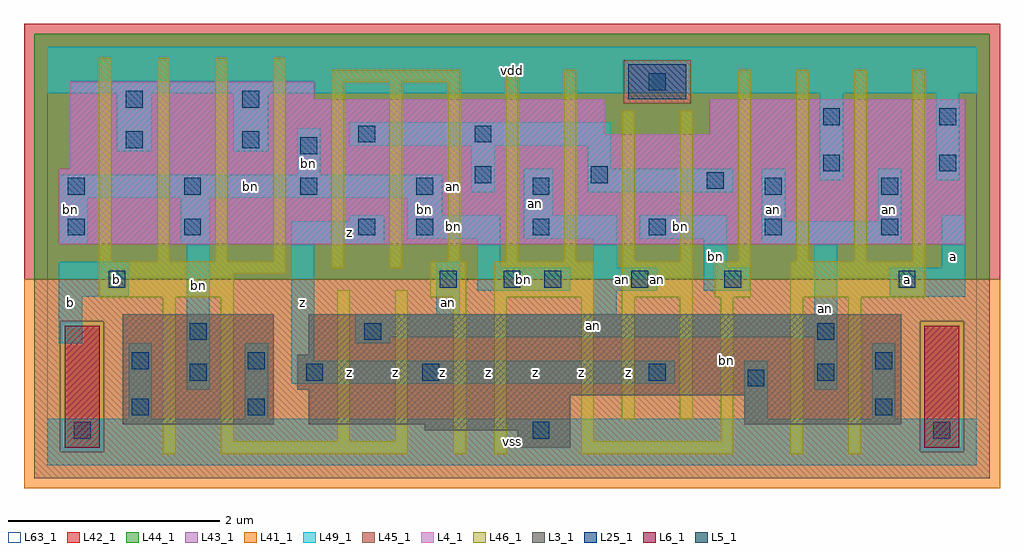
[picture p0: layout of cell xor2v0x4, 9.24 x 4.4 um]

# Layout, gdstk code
import gdstk
lib = gdstk.Library(unit=1e-6, precision=1e-09)
def R(c, l, rs):  # rectangles x0, y0, x1, y1
    for r in rs: c.add(gdstk.rectangle(r[:2], r[2:], *l))
def A(c, l, x, y, w, h, nx, ny, dx, dy):  # array of equal rectangles
    R(c, l, [(x+i*dx, y+j*dy, x+i*dx+w, y+j*dy+h) for i in range(nx) for j in range(ny)])
L3_1 = (3, 1)
L4_1 = (4, 1)
L5_1 = (5, 1)
L6_1 = (6, 1)
L25_1 = (25, 1)
L41_1 = (41, 1)
L42_1 = (42, 1)
L43_1 = (43, 1)
L44_1 = (44, 1)
L45_1 = (45, 1)
L46_1 = (46, 1)
L49_1 = (49, 1)
L63_1 = (63, 1)

xor2v0x4 = lib.new_cell('xor2v0x4')
R(xor2v0x4, L3_1, [(4.455,0.165,4.95,0.33), (3.575,0.33,4.95,0.385), (0.715,0.385,2.145,1.43), (2.475,0.385,4.95,0.66), (6.6,0.385,8.085,0.66), (2.475,0.66,8.085,0.715), (2.365,0.715,8.085,1.045), (2.475,1.045,8.085,1.43)])
R(xor2v0x4, L4_1, [(0.11,2.09,8.69,2.805), (0.22,2.805,8.69,3.135), (0.22,3.135,5.28,3.465), (6.27,3.135,8.69,3.465), (0.22,3.465,2.53,3.63)])
R(xor2v0x4, L5_1, [(5.5,3.465,6.05,3.795)])
R(xor2v0x4, L6_1, [(0.165,0.165,0.495,1.32), (8.305,0.165,8.635,1.32)])
A(xor2v0x4, L25_1, 1.35, 0.8, 0.16, 0.16, 3, 1, 1.1, 0)
A(xor2v0x4, L25_1, 3.495, 2.175, 0.16, 0.16, 5, 1, 1.1, 0)
A(xor2v0x4, L25_1, 0.195, 2.56, 0.16, 0.16, 5, 1, 1.1, 0)
R(xor2v0x4, L25_1, [(0.25,0.25,0.41,0.41), (4.595,0.25,4.755,0.41), (8.39,0.25,8.55,0.41), (0.8,0.47,0.96,0.63), (1.9,0.47,2.06,0.63), (7.84,0.47,8,0.63), (6.63,0.745,6.79,0.905), (5.695,0.8,5.855,0.96), (7.29,0.8,7.45,0.96), (0.8,0.91,0.96,1.07), (1.9,0.91,2.06,1.07), (7.84,0.91,8,1.07), (1.35,1.185,1.51,1.345), (3,1.185,3.16,1.345), (7.29,1.185,7.45,1.345), (0.58,1.68,0.74,1.84), (3.715,1.68,3.875,1.84), (4.32,1.68,4.48,1.84), (4.705,1.68,4.865,1.84), (5.53,1.68,5.69,1.84), (6.41,1.68,6.57,1.84), (8.06,1.68,8.22,1.84), (0.195,2.175,0.355,2.335), (1.295,2.175,1.455,2.335), (2.945,2.175,3.105,2.335), (6.795,2.56,6.955,2.72), (7.895,2.56,8.055,2.72), (6.245,2.615,6.405,2.775), (4.045,2.67,4.205,2.83), (5.145,2.67,5.305,2.83), (7.345,2.78,7.505,2.94), (8.445,2.78,8.605,2.94), (2.395,2.945,2.555,3.105), (0.745,3,0.905,3.16), (1.845,3,2.005,3.16), (2.945,3.055,3.105,3.215), (4.045,3.055,4.205,3.215), (7.345,3.22,7.505,3.38), (8.445,3.22,8.605,3.38), (0.745,3.385,0.905,3.545), (1.845,3.385,2.005,3.545), (5.695,3.55,5.855,3.71)])
R(xor2v0x4, L41_1, [(-0.22,-0.22,9.02,1.76)])
R(xor2v0x4, L42_1, [(-0.22,1.76,9.02,4.18)])
R(xor2v0x4, L43_1, [(0.165,0.165,0.495,1.32), (4.455,0.165,4.95,0.33), (8.305,0.165,8.635,1.32), (3.575,0.33,4.95,0.385), (0.715,0.385,2.145,1.43), (2.475,0.385,4.95,0.66), (6.6,0.385,8.085,0.66), (2.475,0.66,8.085,0.715), (2.365,0.715,8.085,1.045), (2.475,1.045,8.085,1.43), (0.11,2.09,8.69,2.805), (0.22,2.805,8.69,3.135), (0.22,3.135,5.28,3.465), (6.27,3.135,8.69,3.465), (0.22,3.465,2.53,3.63), (5.5,3.465,6.05,3.795)])
R(xor2v0x4, L44_1, [(0.125,0.125,0.535,1.36), (8.265,0.125,8.675,1.36), (-0.125,1.76,8.925,3.425), (-0.125,3.425,5.46,3.835), (6.09,3.425,8.925,3.835), (-0.125,3.835,8.925,4.085)])
R(xor2v0x4, L45_1, [(-0.125,-0.125,8.925,0.125), (-0.125,0.125,0.125,1.36), (0.535,0.125,8.265,1.36), (8.675,0.125,8.925,1.36), (-0.125,1.36,8.925,1.76), (5.46,3.425,6.09,3.835)])
A(xor2v0x4, L46_1, 0.49, 1.93, 0.12, 1.925, 4, 1, 0.55, 0)
A(xor2v0x4, L46_1, 6.54, 1.93, 0.12, 1.815, 4, 1, 0.55, 0)
R(xor2v0x4, L46_1, [(1.095,0.105,1.215,1.59), (1.645,0.105,3.415,0.225), (3.845,0.105,3.965,1.59), (4.23,0.105,4.35,1.59), (5.055,0.105,6.495,0.225), (7.035,0.105,7.155,1.59), (7.585,0.105,7.705,1.59), (1.645,0.225,1.765,1.59), (2.745,0.225,2.865,1.655), (3.295,0.225,3.415,1.655), (5.055,0.225,5.175,1.59), (6.375,0.225,6.495,1.59), (5.44,0.435,5.56,1.59), (5.99,0.435,6.11,1.59), (0.49,1.59,1.765,1.81), (3.625,1.59,3.965,1.93), (4.23,1.59,5.175,1.93), (5.44,1.59,6.11,1.93), (6.32,1.59,6.66,1.93), (7.035,1.59,8.31,1.93), (0.49,1.81,2.26,1.93), (2.69,1.865,2.81,3.625), (3.24,1.865,3.36,3.625), (3.79,1.93,3.91,3.625), (4.34,1.93,4.46,3.745), (4.89,1.93,5.01,3.745), (5.44,1.93,5.56,3.36), (5.99,1.93,6.11,3.36), (2.69,3.625,3.91,3.745)])
R(xor2v0x4, L49_1, [(0,0,8.8,0.44), (0.77,0.44,0.99,1.155), (1.87,0.44,2.09,1.155), (6.6,0.44,6.82,0.99), (7.81,0.44,8.03,1.155), (1.32,0.715,1.54,2.09), (7.26,0.715,7.48,1.21), (2.31,0.77,5.94,0.99), (2.31,0.99,2.53,2.09), (0.11,1.155,0.33,1.595), (2.915,1.155,3.245,1.21), (2.915,1.21,7.48,1.43), (3.685,1.43,3.905,1.925), (5.17,1.43,5.39,1.65), (7.26,1.43,7.48,2.09), (0.11,1.595,0.77,1.925), (7.975,1.595,8.69,1.87), (4.07,1.65,4.95,1.87), (5.17,1.65,5.775,1.87), (6.215,1.65,6.655,1.87), (4.07,1.87,4.29,2.145), (5.17,1.87,5.39,2.145), (6.215,1.87,6.435,2.145), (8.47,1.87,8.69,2.365), (0.11,2.09,0.385,2.53), (1.265,2.09,1.54,2.53), (2.31,2.09,3.19,2.31), (6.765,2.09,8.085,2.31), (3.41,2.145,4.29,2.365), (4.51,2.145,5.39,2.365), (5.61,2.145,6.435,2.365), (2.86,2.31,3.19,2.365), (6.765,2.31,6.985,2.805), (7.865,2.31,8.085,2.805), (3.41,2.365,3.74,2.53), (4.51,2.365,4.785,2.805), (0.11,2.53,3.74,2.75), (4.015,2.585,4.235,3.025), (5.115,2.585,6.49,2.805), (7.315,2.695,7.535,3.52), (8.415,2.695,8.635,3.52), (2.365,2.75,2.585,3.19), (5.115,2.805,5.335,3.025), (0.66,2.97,0.99,3.52), (1.76,2.97,2.09,3.52), (2.86,3.025,5.335,3.245), (0,3.52,8.8,3.96)])
R(xor2v0x4, L63_1, [(0,0,8.8,3.96)])
xor2v0x4.add(gdstk.Label('an', (3.85,2.64), layer=46, texttype=1))
xor2v0x4.add(gdstk.Label('an', (5.775,1.76), layer=46, texttype=1))
xor2v0x4.add(gdstk.Label('bn', (6.435,0.99), layer=46, texttype=1))
xor2v0x4.add(gdstk.Label('b', (0.66,1.76), layer=49, texttype=1))
xor2v0x4.add(gdstk.Label('b', (0.22,1.54), layer=49, texttype=1))
xor2v0x4.add(gdstk.Label('bn', (0.22,2.42), layer=49, texttype=1))
xor2v0x4.add(gdstk.Label('bn', (1.43,1.705), layer=49, texttype=1))
xor2v0x4.add(gdstk.Label('z', (2.86,0.88), layer=49, texttype=1))
xor2v0x4.add(gdstk.Label('z', (3.3,0.88), layer=49, texttype=1))
xor2v0x4.add(gdstk.Label('z', (2.42,1.54), layer=49, texttype=1))
xor2v0x4.add(gdstk.Label('z', (2.86,2.2), layer=49, texttype=1))
xor2v0x4.add(gdstk.Label('bn', (2.475,2.86), layer=49, texttype=1))
xor2v0x4.add(gdstk.Label('vss', (4.4,0.22), layer=49, texttype=1))
xor2v0x4.add(gdstk.Label('z', (3.74,0.88), layer=49, texttype=1))
xor2v0x4.add(gdstk.Label('z', (4.18,0.88), layer=49, texttype=1))
xor2v0x4.add(gdstk.Label('z', (5.06,0.88), layer=49, texttype=1))
xor2v0x4.add(gdstk.Label('z', (4.62,0.88), layer=49, texttype=1))
xor2v0x4.add(gdstk.Label('an', (3.795,1.54), layer=49, texttype=1))
xor2v0x4.add(gdstk.Label('bn', (4.51,1.76), layer=49, texttype=1))
xor2v0x4.add(gdstk.Label('an', (4.62,2.475), layer=49, texttype=1))
xor2v0x4.add(gdstk.Label('bn', (3.85,2.255), layer=49, texttype=1))
xor2v0x4.add(gdstk.Label('bn', (3.575,2.42), layer=49, texttype=1))
xor2v0x4.add(gdstk.Label('bn', (1.925,2.64), layer=49, texttype=1))
xor2v0x4.add(gdstk.Label('vdd', (4.4,3.74), layer=49, texttype=1))
xor2v0x4.add(gdstk.Label('z', (5.5,0.88), layer=49, texttype=1))
xor2v0x4.add(gdstk.Label('an', (5.445,1.76), layer=49, texttype=1))
xor2v0x4.add(gdstk.Label('an', (6.875,2.42), layer=49, texttype=1))
xor2v0x4.add(gdstk.Label('bn', (5.995,2.255), layer=49, texttype=1))
xor2v0x4.add(gdstk.Label('bn', (6.325,1.98), layer=49, texttype=1))
xor2v0x4.add(gdstk.Label('an', (5.17,1.32), layer=49, texttype=1))
xor2v0x4.add(gdstk.Label('a', (8.14,1.76), layer=49, texttype=1))
xor2v0x4.add(gdstk.Label('an', (7.37,1.485), layer=49, texttype=1))
xor2v0x4.add(gdstk.Label('a', (8.58,1.98), layer=49, texttype=1))
xor2v0x4.add(gdstk.Label('an', (7.975,2.42), layer=49, texttype=1))

lib.write_gds('xor2v0x4.gds')
